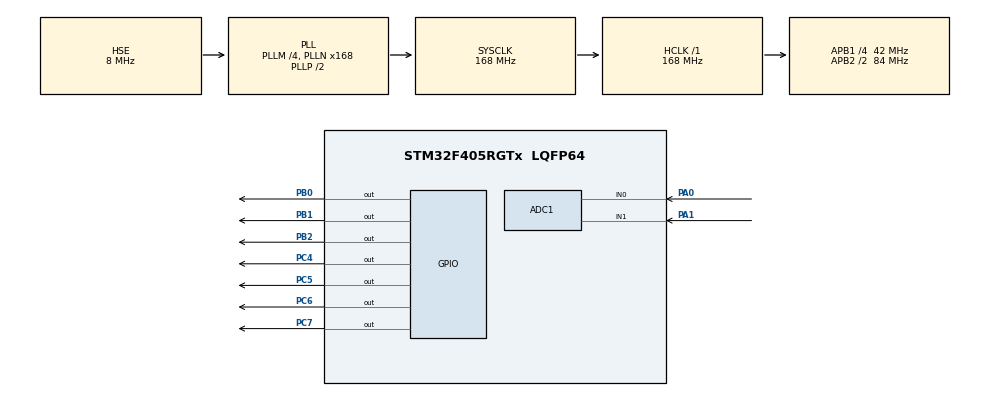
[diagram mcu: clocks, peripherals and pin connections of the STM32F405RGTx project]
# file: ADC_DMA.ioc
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ADC1.Channel-0\#ChannelRegularConversion=ADC_CHANNEL_0
ADC1.Channel-1\#ChannelRegularConversion=ADC_CHANNEL_1
ADC1.ContinuousConvMode=ENABLE
ADC1.DMAContinuousRequests=ENABLE
ADC1.NbrOfConversion=2
ADC1.NbrOfConversionFlag=1
ADC1.Rank-0\#ChannelRegularConversion=1
ADC1.Rank-1\#ChannelRegularConversion=2
ADC1.SamplingTime-0\#ChannelRegularConversion=ADC_SAMPLETIME_28CYCLES
ADC1.SamplingTime-1\#ChannelRegularConversion=ADC_SAMPLETIME_28CYCLES
ADC1.ScanConvMode=ENABLE
ADC1.master=1
Dma.ADC1.0.Direction=DMA_PERIPH_TO_MEMORY
Dma.ADC1.0.FIFOMode=DMA_FIFOMODE_DISABLE
Dma.ADC1.0.Instance=DMA2_Stream0
Dma.ADC1.0.MemDataAlignment=DMA_MDATAALIGN_HALFWORD
Dma.ADC1.0.MemInc=DMA_MINC_ENABLE
Dma.ADC1.0.Mode=DMA_CIRCULAR
Dma.ADC1.0.PeriphDataAlignment=DMA_PDATAALIGN_HALFWORD
Dma.ADC1.0.PeriphInc=DMA_PINC_DISABLE
Dma.ADC1.0.Priority=DMA_PRIORITY_LOW
Dma.Request0=ADC1
Mcu.Family=STM32F4
Mcu.Name=STM32F405RGTx
Mcu.Package=LQFP64
NVIC.DMA2_Stream0_IRQn=true\:0\:0\:false\:false\:true\:false\:true
NVIC.PriorityGroup=NVIC_PRIORITYGROUP_4
PA0-WKUP.Signal=ADCx_IN0
PA1.Signal=ADCx_IN1
PA13.Mode=Serial_Wire
PA13.Signal=SYS_JTMS-SWDIO
PA14.Mode=Serial_Wire
PA14.Signal=SYS_JTCK-SWCLK
PB0.Signal=GPIO_Output
PB1.Signal=GPIO_Output
PB2.Signal=GPIO_Output
PC4.Signal=GPIO_Output
PC5.Signal=GPIO_Output
PC6.Signal=GPIO_Output
PC7.Signal=GPIO_Output
PH0-OSC_IN.Mode=HSE-External-Oscillator
PH0-OSC_IN.Signal=RCC_OSC_IN
PH1-OSC_OUT.Mode=HSE-External-Oscillator
PH1-OSC_OUT.Signal=RCC_OSC_OUT
ProjectManager.HeapSize=0x200
ProjectManager.StackSize=0x400
ProjectManager.TargetToolchain=EWARM V8.32
RCC.48MHZClocksFreq_Value=84000000
RCC.AHBFreq_Value=168000000
RCC.APB1CLKDivider=RCC_HCLK_DIV4
RCC.APB1Freq_Value=42000000
RCC.APB1TimFreq_Value=84000000
RCC.APB2CLKDivider=RCC_HCLK_DIV2
RCC.APB2Freq_Value=84000000
RCC.APB2TimFreq_Value=168000000
RCC.CortexFreq_Value=168000000
RCC.HCLKFreq_Value=168000000
RCC.HSE_VALUE=8000000
RCC.HSI_VALUE=16000000
RCC.LSE_VALUE=32768
RCC.PLLM=4
RCC.PLLN=168
RCC.PLLSourceVirtual=RCC_PLLSOURCE_HSE
RCC.SYSCLKFreq_VALUE=168000000
RCC.SYSCLKSource=RCC_SYSCLKSOURCE_PLLCLK
RCC.VCOOutputFreq_Value=336000000
SH.ADCx_IN0.0=ADC1_IN0,IN0
SH.ADCx_IN1.0=ADC1_IN1,IN1
board=custom

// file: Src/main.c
/* USER CODE BEGIN Header */
/**
  ******************************************************************************
  * @file           : main.c
  * @brief          : Main program body
  ******************************************************************************
  * @attention
  *
  * <h2><center>&copy; Copyright (c) 2020 STMicroelectronics.
  * All rights reserved.</center></h2>
  *
  * This software component is licensed by ST under BSD 3-Clause license,
  * the "License"; You may not use this file except in compliance with the
  * License. You may obtain a copy of the License at:
  *                        opensource.org/licenses/BSD-3-Clause
  *
  ******************************************************************************
  */
/* USER CODE END Header */

#include "main.h"
#include "adc.h"
#include "dma.h"
#include "gpio.h"

/* USER CODE BEGIN Includes */
#include <stdio.h>
#include <string.h>
#include "lcd.h"
/* USER CODE END Includes */

/* USER CODE BEGIN PD */
#define BUFFER_MAX  16
/* USER CODE END PD */

/* USER CODE BEGIN PV */
uint16_t values[2];
char cdsStr[BUFFER_MAX];
char resisStr[BUFFER_MAX];
/* USER CODE END PV */

void SystemClock_Config(void);

int main(void)
{

  /* MCU Configuration--------------------------------------------------------*/

  /* Reset of all peripherals, Initializes the Flash interface and the Systick. */
  HAL_Init();

  /* Configure the system clock */
  SystemClock_Config();

  /* Initialize all configured peripherals */
  MX_GPIO_Init();
  MX_DMA_Init();
  MX_ADC1_Init();
  /* USER CODE BEGIN 2 */
    lcdInit();
    HAL_ADC_Start_DMA(&hadc1, (uint32_t*)values, 2);
  /* USER CODE END 2 */

  /* Infinite loop */
  /* USER CODE BEGIN WHILE */
  while (1)
  {
      sprintf(cdsStr, "CDS : %4d", values[0]);
      sprintf(resisStr, "VOL : %4.1fV", values[1] * 33.0 / 4095);
      lcdGotoXY(0, 0);
      lcdPrintData(cdsStr, strlen(cdsStr));
      lcdGotoXY(0, 1);
      lcdPrintData(resisStr, strlen(resisStr));
      HAL_Delay(333);
    /* USER CODE END WHILE */

  }
}

void SystemClock_Config(void)
{
  RCC_OscInitTypeDef RCC_OscInitStruct = {0};
  RCC_ClkInitTypeDef RCC_ClkInitStruct = {0};

  /** Configure the main internal regulator output voltage
  */
  __HAL_RCC_PWR_CLK_ENABLE();
  __HAL_PWR_VOLTAGESCALING_CONFIG(PWR_REGULATOR_VOLTAGE_SCALE1);
  /** Initializes the CPU, AHB and APB busses clocks
  */
  RCC_OscInitStruct.OscillatorType = RCC_OSCILLATORTYPE_HSE;
  RCC_OscInitStruct.HSEState = RCC_HSE_ON;
  RCC_OscInitStruct.PLL.PLLState = RCC_PLL_ON;
  RCC_OscInitStruct.PLL.PLLSource = RCC_PLLSOURCE_HSE;
  RCC_OscInitStruct.PLL.PLLM = 4;
  RCC_OscInitStruct.PLL.PLLN = 168;
  RCC_OscInitStruct.PLL.PLLP = RCC_PLLP_DIV2;
  RCC_OscInitStruct.PLL.PLLQ = 4;
  if (HAL_RCC_OscConfig(&RCC_OscInitStruct) != HAL_OK)
  {
    Error_Handler();
  }
  /** Initializes the CPU, AHB and APB busses clocks
  */
  RCC_ClkInitStruct.ClockType = RCC_CLOCKTYPE_HCLK|RCC_CLOCKTYPE_SYSCLK
                              |RCC_CLOCKTYPE_PCLK1|RCC_CLOCKTYPE_PCLK2;
  RCC_ClkInitStruct.SYSCLKSource = RCC_SYSCLKSOURCE_PLLCLK;
  RCC_ClkInitStruct.AHBCLKDivider = RCC_SYSCLK_DIV1;
  RCC_ClkInitStruct.APB1CLKDivider = RCC_HCLK_DIV4;
  RCC_ClkInitStruct.APB2CLKDivider = RCC_HCLK_DIV2;

  if (HAL_RCC_ClockConfig(&RCC_ClkInitStruct, FLASH_LATENCY_5) != HAL_OK)
  {
    Error_Handler();
  }
}

void Error_Handler(void)
{
}

/************************ (C) COPYRIGHT STMicroelectronics *****END OF FILE****/
